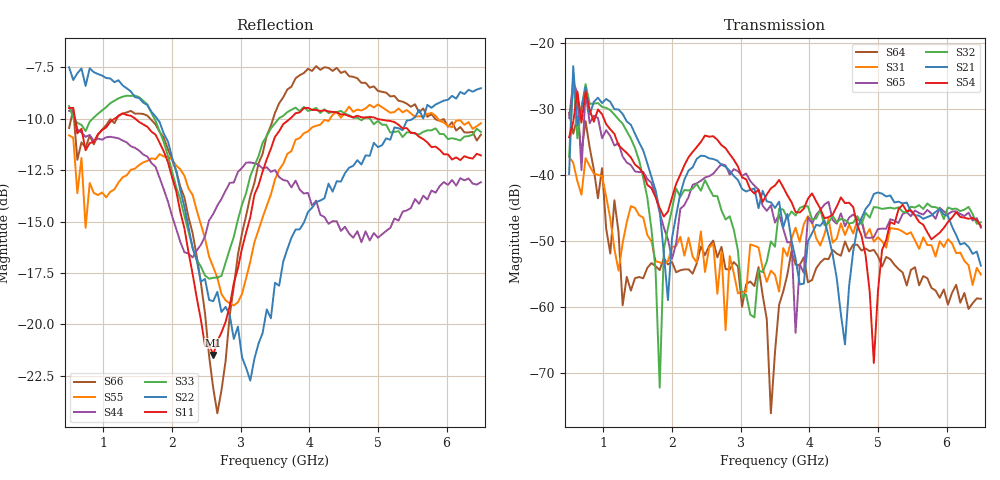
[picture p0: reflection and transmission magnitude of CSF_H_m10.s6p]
!Keysight Technologies,M9804A,MY58100912,A.14.10.03
!Date: Thursday, April 27, 2023 10:28:33
!Correction: S11(C  6-Port  )
!S12(C  6-Port  )
!S13(C  6-Port  )
!S14(C  6-Port  )
!S15(C  6-Port  )
!S16(C  6-Port  )
!S21(C  6-Port  )
!S22(C  6-Port  )
!S23(C  6-Port  )
!S24(C  6-Port  )
!S25(C  6-Port  )
!S26(C  6-Port  )
!S31(C  6-Port  )
!S32(C  6-Port  )
!S33(C  6-Port  )
!S34(C  6-Port  )
!S35(C  6-Port  )
!S36(C  6-Port  )
!S41(C  6-Port  )
!S42(C  6-Port  )
!S43(C  6-Port  )
!S44(C  6-Port  )
!S45(C  6-Port  )
!S46(C  6-Port  )
!S51(C  6-Port  )
!S52(C  6-Port  )
!S53(C  6-Port  )
!S54(C  6-Port  )
!S55(C  6-Port  )
!S56(C  6-Port  )
!S61(C  6-Port  )
!S62(C  6-Port  )
!S63(C  6-Port  )
!S64(C  6-Port  )
!S65(C  6-Port  )
!S66(C  6-Port  )
!S6P File: Measurement: :
# Hz S  RI  R 50
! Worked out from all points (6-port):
!   101 points, 500 MHz to 6.5 GHz, reference 50 ohm
!   strongest paths, dB at 500 MHz, 2 GHz, 3.5 GHz, 5 GHz, 6.5 GHz:
!     S54: -34.2, -43.4, -41.6, -57.6, -47.7
!     S21: -39.8, -49.5, -45.0, -42.6, -53.7
!     S32: -37.1, -45.1, -50.9, -44.9, -47.1
!     S65: -31.3, -52.7, -47.2, -48.2, -48.0
!     S31: -37.2, -50.9, -55.1, -49.4, -55.1
!     S64: -30.5, -53.2, -66.8, -52.3, -58.8
!   lowest |S11| = -21.5 dB at 2.6 GHz (marker M1), VSWR 1.18, Z = 42.5 + j2.02 ohm
!   |S11| at or under -10 dB: 585.3 MHz to 1.162 GHz (577.1 MHz wide, 66 % of centre); 1.464 GHz to 3.72 GHz (2.256 GHz wide, 87 % of centre); 4.983 GHz to end of sweep
